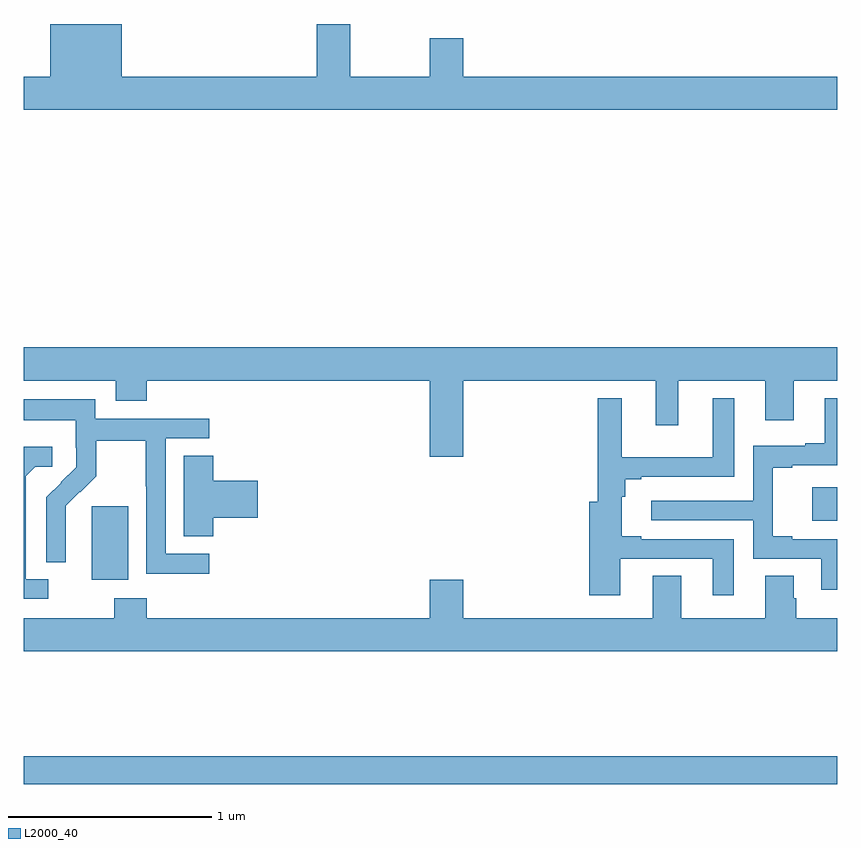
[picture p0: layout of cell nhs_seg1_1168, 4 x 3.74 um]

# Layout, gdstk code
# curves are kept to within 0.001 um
import gdstk
lib = gdstk.Library(unit=1e-6, precision=1e-09)
def R(c, l, rs):  # rectangles x0, y0, x1, y1
    for r in rs: c.add(gdstk.rectangle(r[:2], r[2:], *l))
def P(c, l, *ps):  # polygons
    for p in ps: c.add(gdstk.Polygon(p, *l))
L2000_40 = (2000, 40)

nhs_seg1_1168 = lib.new_cell('nhs_seg1_1168')
R(nhs_seg1_1168, L2000_40, [(175,504.46,179,504.596), (175.334,505.466,175.513,505.827), (178.878,505.754,179,505.921)])
P(nhs_seg1_1168, L2000_40, [(179,507.94),(177.16,507.94),(177.16,508.129),(176.996,508.129),(176.996,507.94),(176.605,507.94),(176.605,508.199),(176.441,508.199),(176.441,507.94),(175.48,507.94),(175.48,508.199),(175.13,508.199),(175.13,507.94),(175,507.94),(175,507.776),(179,507.776)],
  [(177.16,506.444),(178.109,506.444),(178.109,506.226),(178.219,506.226),(178.219,506.444),(178.646,506.444),(178.646,506.25),(178.786,506.25),(178.786,506.444),(179,506.444),(179,506.608),(175,506.608),(175,506.444),(175.451,506.444),(175.451,506.345),(175.604,506.345),(175.604,506.444),(176.996,506.444),(176.996,506.07),(177.16,506.07)],
  [(177.934,505.569),(178.388,505.569),(178.388,505.389),(178.492,505.389),(178.492,505.665),(178.036,505.665),(178.036,505.678),(177.94,505.678),(177.94,505.874),(177.958,505.874),(177.958,505.959),(178.036,505.959),(178.036,505.971),(178.495,505.971),(178.495,506.359),(178.388,506.359),(178.388,506.068),(177.94,506.068),(177.94,506.359),(177.822,506.359),(177.822,505.849),(177.782,505.849),(177.782,505.389),(177.934,505.389)],
  [(179,505.665),(178.78,505.665),(178.78,505.678),(178.685,505.678),(178.685,506.016),(178.78,506.016),(178.78,506.028),(179,506.028),(179,506.359),(178.94,506.359),(178.94,506.137),(178.844,506.137),(178.844,506.124),(178.587,506.124),(178.587,505.854),(178.086,505.854),(178.086,505.758),(178.587,505.758),(178.587,505.569),(178.922,505.569),(178.922,505.416),(179,505.416)],
  [(175.912,505.593),(175.698,505.593),(175.698,506.16),(175.912,506.16),(175.912,506.256),(175.35,506.256),(175.35,506.353),(175,506.353),(175,506.249),(175.254,506.249),(175.254,506.115),(175.256,506.115),(175.256,506.018),(175.11,505.87),(175.11,505.552),(175.206,505.552),(175.205,505.829),(175.275,505.899),(175.278,505.896),(175.355,505.973),(175.355,506.148),(175.6,506.148),(175.6,505.924),(175.602,505.924),(175.602,505.495),(175.912,505.495)],
  [(175.12,505.467),(175.009,505.467),(175.009,505.975),(175.056,506.022),(175.138,506.022),(175.138,506.119),(175,506.119),(175,505.371),(175.12,505.371)],
  [(175.931,505.769),(176.149,505.769),(176.149,505.952),(175.931,505.952),(175.931,506.075),(175.787,506.075),(175.787,505.678),(175.931,505.678)],
  [(179,505.276),(178.799,505.276),(178.799,505.374),(178.786,505.374),(178.786,505.484),(178.646,505.484),(178.646,505.276),(178.234,505.276),(178.234,505.484),(178.094,505.484),(178.094,505.276),(177.16,505.276),(177.16,505.465),(176.996,505.465),(176.996,505.276),(175.604,505.276),(175.604,505.375),(175.444,505.375),(175.444,505.276),(175,505.276),(175,505.112),(179,505.112)])

lib.write_gds('nhs_seg1_1168.gds')
